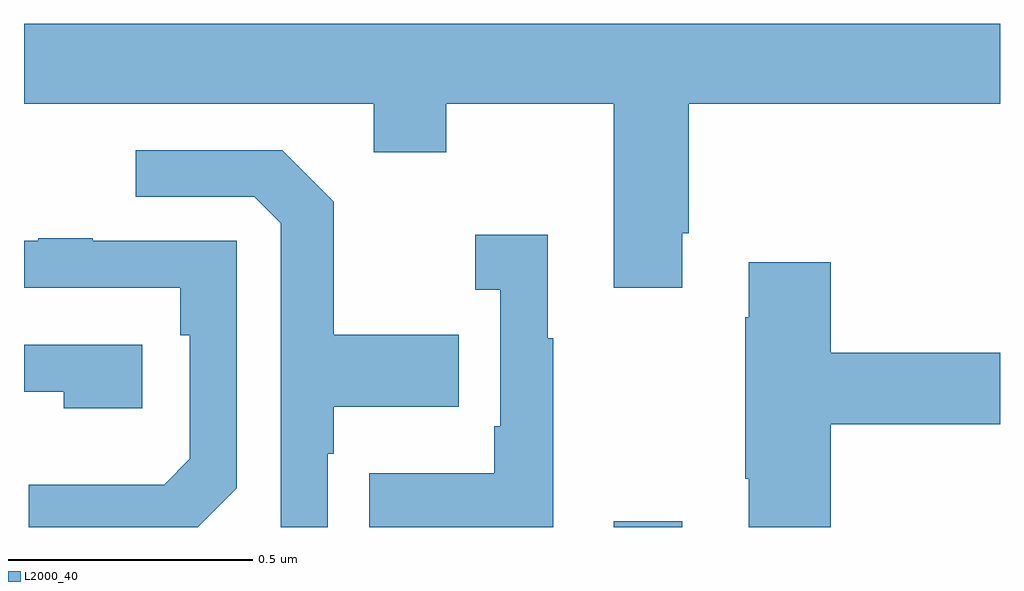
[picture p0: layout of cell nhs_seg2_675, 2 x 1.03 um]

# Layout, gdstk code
import gdstk
lib = gdstk.Library(unit=1e-6, precision=1e-09)
def R(c, l, rs):  # rectangles x0, y0, x1, y1
    for r in rs: c.add(gdstk.rectangle(r[:2], r[2:], *l))
def P(c, l, *ps):  # polygons
    for p in ps: c.add(gdstk.Polygon(p, *l))
L2000_40 = (2000, 40)

nhs_seg2_675 = lib.new_cell('nhs_seg2_675')
R(nhs_seg2_675, L2000_40, [(120.209,614.8,120.349,614.812)])
P(nhs_seg2_675, L2000_40, [(120.349,615.403),(120.362,615.403),(120.362,615.668),(121,615.668),(121,615.832),(119,615.832),(119,615.668),(119.717,615.668),(119.717,615.569),(119.865,615.569),(119.865,615.668),(120.209,615.668),(120.209,615.291),(120.349,615.291)],
  [(119.622,614.951),(119.635,614.951),(119.635,615.047),(119.891,615.047),(119.891,615.195),(119.635,615.195),(119.635,615.467),(119.529,615.573),(119.229,615.573),(119.229,615.477),(119.472,615.477),(119.526,615.423),(119.526,614.8),(119.622,614.8)],
  [(120.085,615.187),(120.073,615.187),(120.073,615.4),(119.925,615.4),(119.925,615.287),(119.976,615.287),(119.976,615.007),(119.964,615.007),(119.964,614.911),(119.707,614.911),(119.707,614.8),(120.085,614.8)],
  [(119.436,614.88),(119.436,615.387),(119.141,615.387),(119.141,615.392),(119.029,615.392),(119.029,615.387),(119,615.387),(119,615.291),(119.32,615.291),(119.32,615.194),(119.34,615.194),(119.34,614.94),(119.287,614.887),(119.01,614.887),(119.01,614.8),(119.356,614.8)],
  [(120.653,615.011),(121,615.011),(121,615.158),(120.653,615.158),(120.653,615.343),(120.485,615.343),(120.485,615.23),(120.478,615.23),(120.478,614.899),(120.485,614.899),(120.485,614.8),(120.653,614.8)],
  [(119.242,615.174),(119,615.174),(119,615.078),(119.081,615.078),(119.081,615.044),(119.242,615.044)])

lib.write_gds('nhs_seg2_675.gds')
